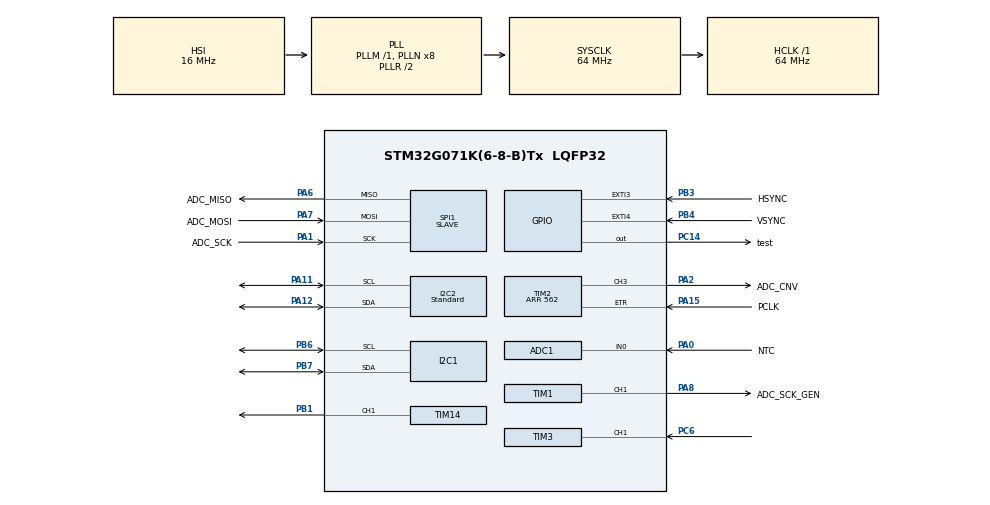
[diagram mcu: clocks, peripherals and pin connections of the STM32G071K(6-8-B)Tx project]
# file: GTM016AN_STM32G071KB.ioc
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ADC1.Channel-0\#ChannelRegularConversion=ADC_CHANNEL_0
ADC1.ContinuousConvMode=ENABLE
ADC1.DMAContinuousRequests=ENABLE
ADC1.NbrOfConversionFlag=1
ADC1.Rank-0\#ChannelRegularConversion=1
ADC1.SamplingTime-0\#ChannelRegularConversion=ADC_SAMPLINGTIME_COMMON_1
ADC1.SelectedChannel=ADC_CHANNEL_0
ADC1.master=1
Dma.ADC1.3.Direction=DMA_PERIPH_TO_MEMORY
Dma.ADC1.3.EventEnable=DISABLE
Dma.ADC1.3.Instance=DMA1_Channel4
Dma.ADC1.3.MemDataAlignment=DMA_MDATAALIGN_HALFWORD
Dma.ADC1.3.MemInc=DMA_MINC_ENABLE
Dma.ADC1.3.Mode=DMA_CIRCULAR
Dma.ADC1.3.PeriphDataAlignment=DMA_PDATAALIGN_HALFWORD
Dma.ADC1.3.PeriphInc=DMA_PINC_DISABLE
Dma.ADC1.3.Polarity=HAL_DMAMUX_REQ_GEN_RISING
Dma.ADC1.3.Priority=DMA_PRIORITY_LOW
Dma.ADC1.3.RequestNumber=1
Dma.ADC1.3.SignalID=NONE
Dma.ADC1.3.SyncEnable=DISABLE
Dma.ADC1.3.SyncPolarity=HAL_DMAMUX_SYNC_NO_EVENT
Dma.ADC1.3.SyncRequestNumber=1
Dma.ADC1.3.SyncSignalID=NONE
Dma.I2C2_TX.1.Direction=DMA_MEMORY_TO_PERIPH
Dma.I2C2_TX.1.EventEnable=DISABLE
Dma.I2C2_TX.1.Instance=DMA1_Channel2
Dma.I2C2_TX.1.MemDataAlignment=DMA_MDATAALIGN_BYTE
Dma.I2C2_TX.1.MemInc=DMA_MINC_ENABLE
Dma.I2C2_TX.1.Mode=DMA_NORMAL
Dma.I2C2_TX.1.PeriphDataAlignment=DMA_PDATAALIGN_BYTE
Dma.I2C2_TX.1.PeriphInc=DMA_PINC_DISABLE
Dma.I2C2_TX.1.Polarity=HAL_DMAMUX_REQ_GEN_RISING
Dma.I2C2_TX.1.Priority=DMA_PRIORITY_LOW
Dma.I2C2_TX.1.RequestNumber=1
Dma.I2C2_TX.1.SignalID=NONE
Dma.I2C2_TX.1.SyncEnable=DISABLE
Dma.I2C2_TX.1.SyncPolarity=HAL_DMAMUX_SYNC_NO_EVENT
Dma.I2C2_TX.1.SyncRequestNumber=1
Dma.I2C2_TX.1.SyncSignalID=NONE
Dma.MEMTOMEM.2.Direction=DMA_MEMORY_TO_MEMORY
Dma.MEMTOMEM.2.EventEnable=DISABLE
Dma.MEMTOMEM.2.Instance=DMA1_Channel3
Dma.MEMTOMEM.2.MemDataAlignment=DMA_MDATAALIGN_BYTE
Dma.MEMTOMEM.2.MemInc=DMA_MINC_ENABLE
Dma.MEMTOMEM.2.Mode=DMA_NORMAL
Dma.MEMTOMEM.2.PeriphDataAlignment=DMA_PDATAALIGN_BYTE
Dma.MEMTOMEM.2.PeriphInc=DMA_PINC_ENABLE
Dma.MEMTOMEM.2.Polarity=HAL_DMAMUX_REQ_GEN_RISING
Dma.MEMTOMEM.2.Priority=DMA_PRIORITY_LOW
Dma.MEMTOMEM.2.RequestNumber=1
Dma.MEMTOMEM.2.SignalID=NONE
Dma.MEMTOMEM.2.SyncEnable=DISABLE
Dma.MEMTOMEM.2.SyncPolarity=HAL_DMAMUX_SYNC_NO_EVENT
Dma.MEMTOMEM.2.SyncRequestNumber=1
Dma.MEMTOMEM.2.SyncSignalID=NONE
Dma.Request0=SPI1_RX
Dma.Request1=I2C2_TX
Dma.Request2=MEMTOMEM
Dma.Request3=ADC1
Dma.SPI1_RX.0.Direction=DMA_PERIPH_TO_MEMORY
Dma.SPI1_RX.0.EventEnable=DISABLE
Dma.SPI1_RX.0.Instance=DMA1_Channel1
Dma.SPI1_RX.0.MemDataAlignment=DMA_MDATAALIGN_HALFWORD
Dma.SPI1_RX.0.MemInc=DMA_MINC_ENABLE
Dma.SPI1_RX.0.Mode=DMA_CIRCULAR
Dma.SPI1_RX.0.PeriphDataAlignment=DMA_PDATAALIGN_HALFWORD
Dma.SPI1_RX.0.PeriphInc=DMA_PINC_DISABLE
Dma.SPI1_RX.0.Polarity=HAL_DMAMUX_REQ_GEN_RISING
Dma.SPI1_RX.0.Priority=DMA_PRIORITY_LOW
Dma.SPI1_RX.0.RequestNumber=1
Dma.SPI1_RX.0.SignalID=NONE
Dma.SPI1_RX.0.SyncEnable=DISABLE
Dma.SPI1_RX.0.SyncPolarity=HAL_DMAMUX_SYNC_NO_EVENT
Dma.SPI1_RX.0.SyncRequestNumber=1
Dma.SPI1_RX.0.SyncSignalID=NONE
I2C1.Timing=0x10707DBC
I2C2.GeneralCallMode=I2C_GENERALCALL_DISABLE
I2C2.I2C_Speed_Mode=I2C_Standard
I2C2.NoStretchMode=I2C_NOSTRETCH_DISABLE
I2C2.OwnAddress=24
I2C2.Timing=0x10707DBC
Mcu.Family=STM32G0
Mcu.Name=STM32G071K(6-8-B)Tx
Mcu.Package=LQFP32
NVIC.DMA1_Ch4_7_DMAMUX1_OVR_IRQn=true\:0\:0\:false\:false\:true\:false\:true
NVIC.DMA1_Channel1_IRQn=true\:0\:0\:false\:false\:true\:false\:true
NVIC.DMA1_Channel2_3_IRQn=true\:0\:0\:false\:false\:true\:false\:true
NVIC.EXTI4_15_IRQn=true\:0\:0\:false\:false\:true\:true\:true
NVIC.I2C2_IRQn=true\:0\:0\:false\:false\:true\:true\:true
NVIC.TIM3_IRQn=true\:0\:0\:false\:false\:true\:true\:true
PA0.GPIO_Label=NTC
PA0.Mode=IN0
PA0.Signal=ADC1_IN0
PA1.GPIO_Label=ADC_SCK
PA1.Mode=Full_Duplex_Slave
PA1.Signal=SPI1_SCK
PA11\ [PA9].Mode=I2C
PA11\ [PA9].Signal=I2C2_SCL
PA12\ [PA10].Mode=I2C
PA12\ [PA10].Signal=I2C2_SDA
PA13.Mode=Serial_Wire
PA13.Signal=SYS_SWDIO
PA14-BOOT0.Mode=Serial_Wire
PA14-BOOT0.Signal=SYS_SWCLK
PA15.GPIO_Label=PCLK
PA15.Signal=S_TIM2_ETR
PA2.GPIO_Label=ADC_CNV
PA2.Signal=S_TIM2_CH3
PA3.Signal=SPI2_MISO
PA4.Signal=SPI2_MOSI
PA6.GPIO_Label=ADC_MISO
PA6.Mode=Full_Duplex_Slave
PA6.Signal=SPI1_MISO
PA7.GPIO_Label=ADC_MOSI
PA7.Mode=Full_Duplex_Slave
PA7.Signal=SPI1_MOSI
PA8.GPIO_Label=ADC_SCK_GEN
PA8.Signal=S_TIM1_CH1
PB1.Signal=S_TIM14_CH1
PB3.GPIO_Label=HSYNC
PB3.Signal=GPXTI3
PB4.GPIO_Label=VSYNC
PB4.Signal=GPXTI4
PB6.Mode=I2C
PB6.Signal=I2C1_SCL
PB7.Mode=I2C
PB7.Signal=I2C1_SDA
PB8.Signal=SPI2_SCK
PB9.Signal=SPI2_NSS
PC14-OSC32_IN\ (PC14).GPIO_Label=test
PC14-OSC32_IN\ (PC14).Signal=GPIO_Output
PC6.Signal=S_TIM3_CH1
ProjectManager.HeapSize=0x200
ProjectManager.StackSize=0x400
ProjectManager.TargetToolchain=MDK-ARM V5.27
RCC.ADCFreq_Value=64000000
RCC.AHBFreq_Value=64000000
RCC.CortexFreq_Value=64000000
RCC.EXTERNAL_CLOCK_VALUE=48000
RCC.HCLKFreq_Value=64000000
RCC.HSE_VALUE=8000000
RCC.HSI_VALUE=16000000
RCC.LSE_VALUE=32768
RCC.SYSCLKFreq_VALUE=64000000
RCC.SYSCLKSource=RCC_SYSCLKSOURCE_PLLCLK
RCC.VCOOutputFreq_Value=128000000
SH.S_TIM14_CH1.0=TIM14_CH1,PWM Generation1 CH1
SH.S_TIM1_CH1.0=TIM1_CH1,PWM Generation1 CH1
SH.S_TIM2_CH3.0=TIM2_CH3,PWM Generation3 CH3
SH.S_TIM2_ETR.0=TIM2_ETR,TriggerSource_ETR
SH.S_TIM3_CH1.0=TIM3_CH1,TriggerSource_TI1FP1
SH.S_TIM3_CH1.1=TIM3_CH1,Input_Capture1_from_TI1
SH.S_TIM3_CH1.2=TIM3_CH1,Input_Capture2_from_TI1
SPI1.DataSize=SPI_DATASIZE_16BIT
SPI1.Direction=SPI_DIRECTION_2LINES
SPI1.Mode=SPI_MODE_SLAVE
SPI1.VirtualType=VM_SLAVE
TIM1.AutoReloadPreload=TIM_AUTORELOAD_PRELOAD_ENABLE
TIM1.Channel-PWM\ Generation1\ CH1=TIM_CHANNEL_1
TIM1.OCPolarity_1=TIM_OCPOLARITY_LOW
TIM1.Period=1
TIM1.Prescaler=3
TIM1.Pulse-PWM\ Generation1\ CH1=1
TIM1.RepetitionCounter=15
TIM14.AutoReloadPreload=TIM_AUTORELOAD_PRELOAD_ENABLE
TIM14.Channel=TIM_CHANNEL_1
TIM14.Period=3
TIM14.Prescaler=7999
TIM14.Pulse=1
TIM2.AutoReloadPreload=TIM_AUTORELOAD_PRELOAD_ENABLE
TIM2.Channel-PWM\ Generation3\ CH3=TIM_CHANNEL_3
TIM2.OCPolarity_3=TIM_OCPOLARITY_LOW
TIM2.Period=562
TIM2.Pulse-PWM\ Generation3\ CH3=1
TIM2.TIM_MasterOutputTrigger=TIM_TRGO_UPDATE
TIM3.Channel-Input_Capture1_from_TI1=TIM_CHANNEL_1
TIM3.Channel-Input_Capture2_from_TI1=TIM_CHANNEL_2
TIM3.ICPolarity_CH2=TIM_INPUTCHANNELPOLARITY_FALLING
TIM3.Prescaler=63
TIM3.TIM_MasterSlaveMode=TIM_MASTERSLAVEMODE_DISABLE
VP_SYS_VS_DBSignals.Mode=DisableDeadBatterySignals
VP_TIM14_VS_ClockSourceINT.Mode=Enable_Timer
VP_TIM1_VS_ClockSourceINT.Mode=Internal
VP_TIM1_VS_ClockSourceITR.Mode=TriggerSource_ITR1
VP_TIM1_VS_ControllerModeTrigger.Mode=Trigger Mode
VP_TIM1_VS_OPM.Mode=OPM_bit
VP_TIM2_VS_ClockSourceINT.Mode=Internal
VP_TIM2_VS_ControllerModeTrigger.Mode=Trigger Mode
VP_TIM2_VS_OPM.Mode=OPM_bit
VP_TIM3_VS_ClockSourceINT.Mode=Internal
VP_TIM3_VS_ControllerModeReset.Mode=Reset Mode
board=custom

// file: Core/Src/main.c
/* USER CODE BEGIN Header */
/**
  ******************************************************************************
  * @file           : main.c
  * @brief          : Main program body
  ******************************************************************************
  * @attention
  *
  * <h2><center>&copy; Copyright (c) 2021 STMicroelectronics.
  * All rights reserved.</center></h2>
  *
  * This software component is licensed by ST under BSD 3-Clause license,
  * the "License"; You may not use this file except in compliance with the
  * License. You may obtain a copy of the License at:
  *                        opensource.org/licenses/BSD-3-Clause
  *
  ******************************************************************************
  */
/* USER CODE END Header */
#include "main.h"
#include "adc.h"
#include "dma.h"
#include "i2c.h"
#include "spi.h"
#include "tim.h"
#include "gpio.h"

/* USER CODE BEGIN Includes */

#include "flash.h"
#include "GTM016AN.h"

/* USER CODE END Includes */

/* USER CODE BEGIN PD */

#define DATA_64                 ((uint64_t)0x1234567812345678)
#define DATA_32                 ((uint32_t)0x12345678)

/* USER CODE END PD */

/* USER CODE BEGIN PV */

float ntc_temp=0.0;

// for debug
uint16_t p=1,pp=0;
uint8_t  state;
uint8_t  I2C_IF_Restart=0;

//// for flash read/wrie using
//uint32_t data[10];
//uint64_t src[5]={\
//	0x0000000000000000,\
//	0x1111111111111111,\
//	0x2222222222222222,\
//	0x3333333333333333,\
//	0x4444444444444444};

/* USER CODE END PV */

void SystemClock_Config(void);

/* USER CODE BEGIN 0 */

/* debug callbacks zone */
//void HAL_TIM_PeriodElapsedCallback(TIM_HandleTypeDef *htim){
//	if(htim==&htim3){
//		HAL_GPIO_TogglePin(test_GPIO_Port,test_Pin);
//	}
//}

void HAL_TIM_IC_CaptureCallback(TIM_HandleTypeDef *htim){
	if(htim==&htim3){
//		__HAL_TIM_SetCounter(htim,0);
		if(HAL_TIM_ReadCapturedValue(htim,TIM_CHANNEL_2)>199){
			HAL_GPIO_TogglePin(test_GPIO_Port,test_Pin);
//			I2C_IF_Restart=1;
		}
	}
}

/* USER CODE END 0 */

int main(void)
{

  /* MCU Configuration--------------------------------------------------------*/

  /* Reset of all peripherals, Initializes the Flash interface and the Systick. */
  HAL_Init();

  /* Configure the system clock */
  SystemClock_Config();

  /* Initialize all configured peripherals */
  MX_GPIO_Init();
  MX_DMA_Init();
  MX_ADC1_Init();
  MX_I2C1_Init();
  MX_I2C2_Init();
  MX_SPI1_Init();
  MX_TIM1_Init();
  MX_TIM2_Init();
  MX_TIM3_Init();
  MX_TIM14_Init();
  /* USER CODE BEGIN 2 */

	/* ADC calibrate */
	HAL_ADCEx_Calibration_Start(&hadc1);

	/* Disable VSYNC interrupt to initial GTM016AN */
	HAL_NVIC_DisableIRQ(VSYNC_EXTI_IRQn);
	GTM016AN_Init(100);
	HAL_Delay(1000);
	HAL_NVIC_EnableIRQ(VSYNC_EXTI_IRQn);

	/* Start listening I2C interface */
	HAL_I2C_EnableListen_IT(&hi2c2);
//	HAL_I2C_Slave_Seq_Receive_IT(&hi2c2, I2C_IF_RxBuffer, 1, I2C_LAST_FRAME);
//	HAL_I2C_Slave_Receive_IT(&hi2c2, I2C_IF_RxBuffer, 1);

	/* Testing flash operating */
//	Flash_Erase(0,32);
//	Flash_Write(FLASH_USER_START_ADDR,src,5);
//	Flash_Read(FLASH_USER_START_ADDR,(uint32_t*)data,10);

	/* Start generating ADC clock, Timer2 catach PCLK input to trig Timer1 which generate 16 clocks to ADC */
	HAL_TIM_IC_Start_IT(&htim3,TIM_CHANNEL_1);
	HAL_TIM_IC_Start_IT(&htim3,TIM_CHANNEL_2);

  /* USER CODE END 2 */

  /* Infinite loop */
  /* USER CODE BEGIN WHILE */
  while (1)
  {
//		if(pp){
//			MX_TIM14_Init();
//			// Simulate PCLK
//			HAL_TIM_PWM_Start(&htim14,TIM_CHANNEL_1);
//			pp=0;
//		}

//		if(I2C_IF_Restart==1){
//			HAL_I2C_DeInit(&hi2c2);
//			HAL_I2C_Init(&hi2c2);
//			HAL_I2C_EnableListen_IT(&hi2c2);
//			I2C_IF_Restart=0;
//		}

		ntc_temp=getNTCTemperature();

//		state=HAL_I2C_GetState(&hi2c2);

		HAL_Delay(10);

    /* USER CODE END WHILE */

  }
}

void SystemClock_Config(void)
{
  RCC_OscInitTypeDef RCC_OscInitStruct = {0};
  RCC_ClkInitTypeDef RCC_ClkInitStruct = {0};
  RCC_PeriphCLKInitTypeDef PeriphClkInit = {0};

  /** Configure the main internal regulator output voltage
  */
  HAL_PWREx_ControlVoltageScaling(PWR_REGULATOR_VOLTAGE_SCALE1);
  /** Initializes the RCC Oscillators according to the specified parameters
  * in the RCC_OscInitTypeDef structure.
  */
  RCC_OscInitStruct.OscillatorType = RCC_OSCILLATORTYPE_HSI;
  RCC_OscInitStruct.HSIState = RCC_HSI_ON;
  RCC_OscInitStruct.HSIDiv = RCC_HSI_DIV1;
  RCC_OscInitStruct.HSICalibrationValue = RCC_HSICALIBRATION_DEFAULT;
  RCC_OscInitStruct.PLL.PLLState = RCC_PLL_ON;
  RCC_OscInitStruct.PLL.PLLSource = RCC_PLLSOURCE_HSI;
  RCC_OscInitStruct.PLL.PLLM = RCC_PLLM_DIV1;
  RCC_OscInitStruct.PLL.PLLN = 8;
  RCC_OscInitStruct.PLL.PLLP = RCC_PLLP_DIV2;
  RCC_OscInitStruct.PLL.PLLQ = RCC_PLLQ_DIV2;
  RCC_OscInitStruct.PLL.PLLR = RCC_PLLR_DIV2;
  if (HAL_RCC_OscConfig(&RCC_OscInitStruct) != HAL_OK)
  {
    Error_Handler();
  }
  /** Initializes the CPU, AHB and APB buses clocks
  */
  RCC_ClkInitStruct.ClockType = RCC_CLOCKTYPE_HCLK|RCC_CLOCKTYPE_SYSCLK
                              |RCC_CLOCKTYPE_PCLK1;
  RCC_ClkInitStruct.SYSCLKSource = RCC_SYSCLKSOURCE_PLLCLK;
  RCC_ClkInitStruct.AHBCLKDivider = RCC_SYSCLK_DIV1;
  RCC_ClkInitStruct.APB1CLKDivider = RCC_HCLK_DIV1;

  if (HAL_RCC_ClockConfig(&RCC_ClkInitStruct, FLASH_LATENCY_2) != HAL_OK)
  {
    Error_Handler();
  }
  /** Initializes the peripherals clocks
  */
  PeriphClkInit.PeriphClockSelection = RCC_PERIPHCLK_I2C1|RCC_PERIPHCLK_ADC
                              |RCC_PERIPHCLK_TIM1;
  PeriphClkInit.I2c1ClockSelection = RCC_I2C1CLKSOURCE_PCLK1;
  PeriphClkInit.AdcClockSelection = RCC_ADCCLKSOURCE_SYSCLK;
  PeriphClkInit.Tim1ClockSelection = RCC_TIM1CLKSOURCE_PCLK1;
  if (HAL_RCCEx_PeriphCLKConfig(&PeriphClkInit) != HAL_OK)
  {
    Error_Handler();
  }
}

void Error_Handler(void)
{
  __disable_irq();
  while (1)
  {
  }
}

/************************ (C) COPYRIGHT STMicroelectronics *****END OF FILE****/
